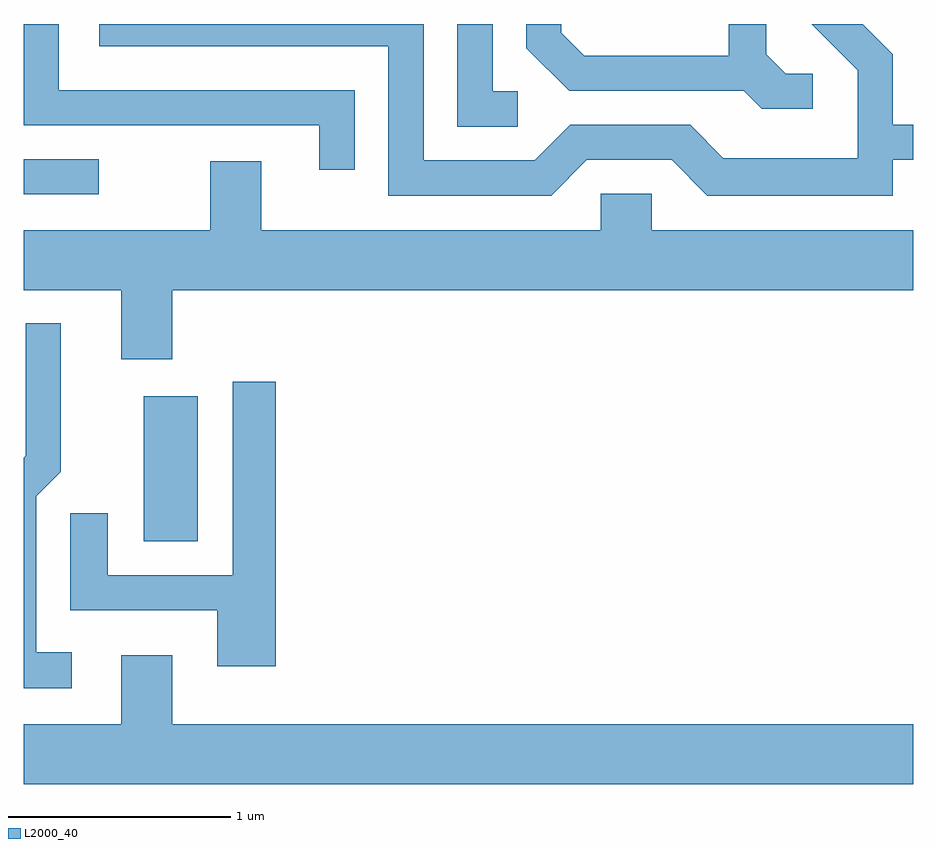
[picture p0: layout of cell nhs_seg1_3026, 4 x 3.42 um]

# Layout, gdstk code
import gdstk
lib = gdstk.Library(unit=1e-6, precision=1e-09)
def R(c, l, rs):  # rectangles x0, y0, x1, y1
    for r in rs: c.add(gdstk.rectangle(r[:2], r[2:], *l))
def P(c, l, *ps):  # polygons
    for p in ps: c.add(gdstk.Polygon(p, *l))
L2000_40 = (2000, 40)

nhs_seg1_3026 = lib.new_cell('nhs_seg1_3026')
R(nhs_seg1_3026, L2000_40, [(278.151,847.386,278.394,848.039), (277.611,848.946,277.948,849.104)])
P(nhs_seg1_3026, L2000_40, [(280.142,849.101),(280.524,849.101),(280.684,848.941),(281.519,848.941),(281.519,849.101),(281.611,849.101),(281.611,849.259),(281.519,849.259),(281.519,849.577),(281.384,849.712),(281.153,849.712),(281.361,849.504),(281.361,849.109),(280.757,849.109),(280.607,849.259),(280.069,849.259),(279.909,849.099),(279.409,849.099),(279.409,849.712),(277.951,849.712),(277.951,849.611),(279.251,849.611),(279.251,848.941),(279.982,848.941)],
  [(279.833,849.409),(279.719,849.409),(279.719,849.712),(279.561,849.712),(279.561,849.251),(279.833,849.251)],
  [(279.099,849.414),(277.769,849.414),(277.769,849.712),(277.611,849.712),(277.611,849.256),(278.941,849.256),(278.941,849.058),(279.099,849.058)],
  [(281.158,849.489),(281.037,849.489),(280.949,849.577),(280.949,849.712),(280.781,849.712),(280.781,849.569),(280.132,849.569),(280.029,849.672),(280.029,849.712),(279.871,849.712),(279.871,849.604),(280.064,849.411),(280.849,849.411),(280.929,849.331),(281.158,849.331)],
  [(278.279,848.516),(281.611,848.516),(281.611,848.784),(280.434,848.784),(280.434,848.949),(280.206,848.949),(280.206,848.784),(278.679,848.784),(278.679,849.094),(278.451,849.094),(278.451,848.784),(277.611,848.784),(277.611,848.516),(278.051,848.516),(278.051,848.206),(278.279,848.206)],
  [(277.828,846.889),(277.669,846.889),(277.669,847.589),(277.779,847.699),(277.779,848.368),(277.621,848.368),(277.621,847.772),(277.611,847.762),(277.611,846.726),(277.828,846.726)],
  [(278.744,848.104),(278.551,848.104),(278.551,847.234),(277.989,847.234),(277.989,847.513),(277.821,847.513),(277.821,847.076),(278.481,847.076),(278.481,846.826),(278.744,846.826)],
  [(281.611,846.564),(278.279,846.564),(278.279,846.874),(278.051,846.874),(278.051,846.564),(277.611,846.564),(277.611,846.296),(281.611,846.296)])

lib.write_gds('nhs_seg1_3026.gds')
